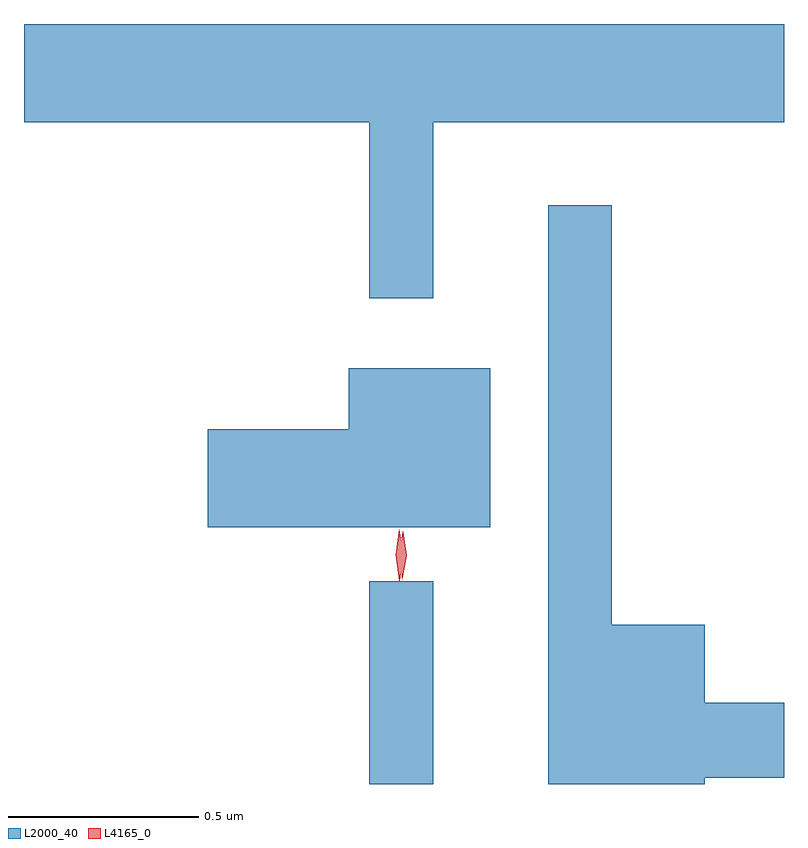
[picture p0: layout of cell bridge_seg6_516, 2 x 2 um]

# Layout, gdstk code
import gdstk
lib = gdstk.Library(unit=1e-6, precision=1e-09)
def R(c, l, rs):  # rectangles x0, y0, x1, y1
    for r in rs: c.add(gdstk.rectangle(r[:2], r[2:], *l))
def P(c, l, *ps):  # polygons
    for p in ps: c.add(gdstk.Polygon(p, *l))
L2000_40 = (2000, 40)
L4165_0 = (4165, 0)

bridge_seg6_516 = lib.new_cell('bridge_seg6_516')
R(bridge_seg6_516, L2000_40, [(930.191,1577.155,930.359,1577.688)])
P(bridge_seg6_516, L2000_40, [(930.359,1578.896),(931.282,1578.896),(931.282,1579.155),(929.282,1579.155),(929.282,1578.896),(930.191,1578.896),(930.191,1578.433),(930.359,1578.433)],
  [(931.074,1577.171),(931.282,1577.171),(931.282,1577.369),(931.074,1577.369),(931.074,1577.574),(930.829,1577.574),(930.829,1578.678),(930.661,1578.678),(930.661,1577.155),(931.074,1577.155)],
  [(930.509,1578.249),(930.136,1578.249),(930.136,1578.089),(929.766,1578.089),(929.766,1577.831),(930.509,1577.831)])
P(bridge_seg6_516, L4165_0, [(930.278,1577.693),(930.277,1577.694),(930.269,1577.756),(930.279,1577.819),(930.28,1577.82),(930.28,1577.819),(930.289,1577.756),(930.278,1577.694)],
  [(930.27,1577.69),(930.27,1577.69),(930.26,1577.758),(930.269,1577.825),(930.269,1577.826),(930.27,1577.825),(930.28,1577.758),(930.271,1577.69)])

lib.write_gds('bridge_seg6_516.gds')
